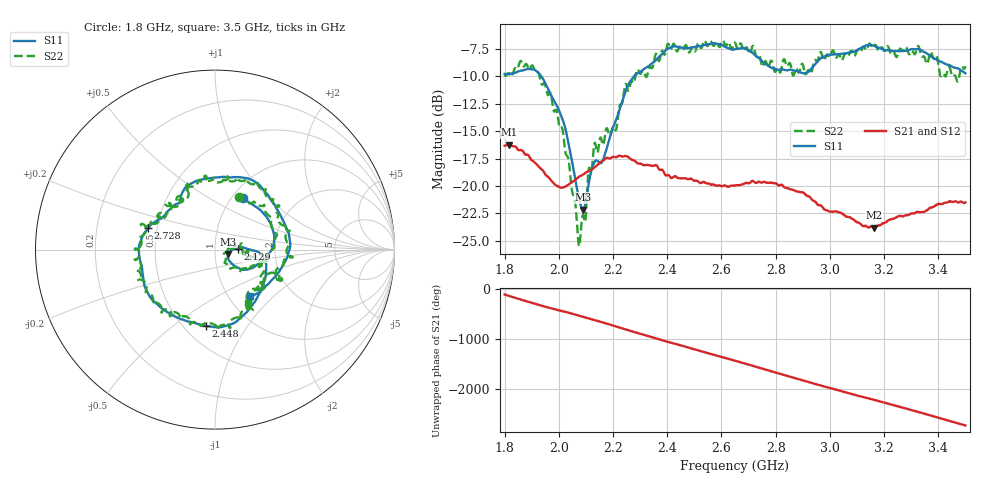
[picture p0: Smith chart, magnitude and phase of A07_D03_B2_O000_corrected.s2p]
! Created with skrf 1.9.0 (http://scikit-rf.org).
# Hz S RI R 50.0
!freq ReS11 ImS11 ReS21 ImS21 ReS12 ImS12 ReS22 ImS22
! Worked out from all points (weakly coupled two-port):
!   1601 points, 1.8 GHz to 3.5 GHz, reference 50 ohm
!   highest |S21| = -16.22 dB at 1.817 GHz (marker M1); lowest = -23.8 dB at 3.163 GHz (marker M2)
!   lowest |S11| = -22.1 dB at 2.09 GHz (marker M3), VSWR 1.17, Z = 58 - j2.83 ohm
!   |S11| at or under -10 dB: 1.936 GHz to 2.277 GHz (341.4 MHz wide, 16.2 % of centre)
!   |S22| runs from -25.5 to -6.7 dB; largest |S21 - S12| = 0.0026
!   S11 on the Smith chart (normalised r, x): 1.8 GHz: 1.12, +0.72; 2.129 GHz: 1.29, +0.00; 2.448 GHz: 0.64, -0.66; 2.728 GHz: 0.45, +0.12; 3.5 GHz: 1.26, -0.73
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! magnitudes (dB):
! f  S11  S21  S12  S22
! 1.8 GHz  -9.8  -16.3  -16.3  -9.9
! 1.817 GHz  -9.8  -16.2  -16.2  -9.7
! 1.903 GHz  -9.4  -17.7  -17.7  -9.0
! 1.968 GHz  -11.5  -19.4  -19.4  -11.5
! 2.015 GHz  -14.0  -20.1  -20.2  -15.0
! 2.072 GHz  -20.8  -19.2  -19.2  -25.1
! 2.084 GHz  -22.0  -19.0  -19.0  -23.4
! 2.09 GHz  -22.1  -18.9  -19.0  -22.6
! 2.129 GHz  -17.9  -18.3  -18.3  -16.4
! 2.163 GHz  -17.6  -17.7  -17.6  -16.3
! 2.209 GHz  -14.1  -17.4  -17.3  -14.9
! 2.261 GHz  -10.5  -17.5  -17.5  -11.0
! 2.367 GHz  -8.3  -18.4  -18.3  -8.5
! 2.448 GHz  -7.4  -19.3  -19.3  -7.3
! 2.65 GHz  -7.5  -20.0  -19.9  -6.9
! 2.728 GHz  -8.2  -19.7  -19.7  -8.1
! 2.934 GHz  -9.2  -21.2  -21.2  -9.6
! 3.163 GHz  -7.2  -23.8  -23.8  -7.2
! 3.217 GHz  -7.6  -23.1  -23.1  -7.4
! 3.327 GHz  -7.5  -22.4  -22.3  -7.2
! 3.468 GHz  -9.3  -21.4  -21.4  -10.3
! 3.5 GHz  -9.7  -21.5  -21.5  -9.1
